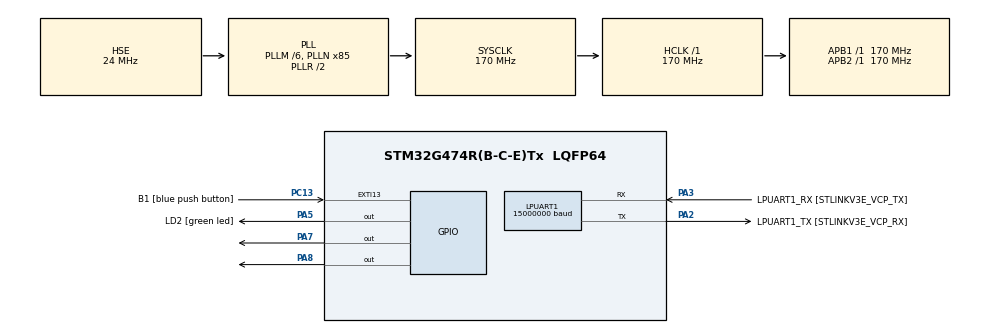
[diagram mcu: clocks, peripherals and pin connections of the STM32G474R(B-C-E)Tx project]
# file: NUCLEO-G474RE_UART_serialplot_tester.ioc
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Dma.LPUART1_TX.0.Direction=DMA_MEMORY_TO_PERIPH
Dma.LPUART1_TX.0.EventEnable=DISABLE
Dma.LPUART1_TX.0.Instance=DMA1_Channel2
Dma.LPUART1_TX.0.MemDataAlignment=DMA_MDATAALIGN_BYTE
Dma.LPUART1_TX.0.MemInc=DMA_MINC_ENABLE
Dma.LPUART1_TX.0.Mode=DMA_NORMAL
Dma.LPUART1_TX.0.PeriphDataAlignment=DMA_PDATAALIGN_BYTE
Dma.LPUART1_TX.0.PeriphInc=DMA_PINC_DISABLE
Dma.LPUART1_TX.0.Polarity=HAL_DMAMUX_REQ_GEN_RISING
Dma.LPUART1_TX.0.Priority=DMA_PRIORITY_HIGH
Dma.LPUART1_TX.0.RequestNumber=1
Dma.LPUART1_TX.0.SignalID=NONE
Dma.LPUART1_TX.0.SyncEnable=DISABLE
Dma.LPUART1_TX.0.SyncPolarity=HAL_DMAMUX_SYNC_NO_EVENT
Dma.LPUART1_TX.0.SyncRequestNumber=1
Dma.LPUART1_TX.0.SyncSignalID=NONE
Dma.Request0=LPUART1_TX
HRTIM1.ADCTrigger_Id1=__NULL
HRTIM1.CompareUnit1-MasterTimer=__NULL
HRTIM1.DACSynchro-MasterTimer=HRTIM_DACSYNC_DACTRIGOUT_2
HRTIM1.Event_EEV1=__NULL
HRTIM1.Fault_Line1=__NULL
HRTIM1.InterruptRequests1_Master=HRTIM_MASTER_IT_MREP
HRTIM1.NumberInterruptRequests_Master-MasterTimer=1
HRTIM1.Periode_MASTER=54400
HRTIM1.PrescalerRatio_MASTER=HRTIM_PRESCALERRATIO_MUL16
HRTIM1.RepetitionCounter-MasterTimer=149
HRTIM1.RepetitionUpdate-MasterTimer=HRTIM_UPDATEONREPETITION_DISABLED
LPUART1.BaudRate=15000000
LPUART1.WordLength=UART_WORDLENGTH_8B
Mcu.Family=STM32G4
Mcu.Name=STM32G474R(B-C-E)Tx
Mcu.Package=LQFP64
NVIC.DMA1_Channel2_IRQn=true\:0\:0\:false\:false\:true\:false\:true\:true
NVIC.EXTI15_10_IRQn=true\:0\:0\:false\:false\:true\:true\:true\:true
NVIC.HRTIM1_Master_IRQn=true\:1\:0\:true\:false\:true\:true\:true\:true
NVIC.LPUART1_IRQn=true\:0\:0\:false\:false\:true\:true\:true\:true
NVIC.PriorityGroup=NVIC_PRIORITYGROUP_4
PA13.GPIO_Label=T_SWDIO
PA13.Mode=Serial_Wire
PA13.Signal=SYS_JTMS-SWDIO
PA14.GPIO_Label=T_SWCLK
PA14.Mode=Serial_Wire
PA14.Signal=SYS_JTCK-SWCLK
PA2.GPIO_Label=LPUART1_TX [STLINKV3E_VCP_RX]
PA2.GPIO_Speed=GPIO_SPEED_FREQ_LOW
PA2.Mode=Asynchronous
PA2.Signal=LPUART1_TX
PA3.GPIO_Label=LPUART1_RX [STLINKV3E_VCP_TX]
PA3.Mode=Asynchronous
PA3.Signal=LPUART1_RX
PA5.GPIO_Label=LD2 [green led]
PA5.Signal=GPIO_Output
PA7.Signal=GPIO_Output
PA8.Signal=GPIO_Output
PB3.GPIO_Label=T_SWO
PB3.Signal=SYS_JTDO-SWO
PC13.GPIO_Label=B1 [blue push button]
PC13.Signal=GPXTI13
PC14-OSC32_IN.Mode=LSE-External-Oscillator
PC14-OSC32_IN.Signal=RCC_OSC32_IN
PC15-OSC32_OUT.Mode=LSE-External-Oscillator
PC15-OSC32_OUT.Signal=RCC_OSC32_OUT
PF0-OSC_IN.Mode=HSE-External-Oscillator
PF0-OSC_IN.Signal=RCC_OSC_IN
PF1-OSC_OUT.Mode=HSE-External-Oscillator
PF1-OSC_OUT.Signal=RCC_OSC_OUT
ProjectManager.HeapSize=0x200
ProjectManager.StackSize=0x400
ProjectManager.TargetToolchain=STM32CubeIDE
RCC.ADC12Freq_Value=170000000
RCC.ADC345Freq_Value=170000000
RCC.AHBFreq_Value=170000000
RCC.APB1Freq_Value=170000000
RCC.APB1TimFreq_Value=170000000
RCC.APB2Freq_Value=170000000
RCC.APB2TimFreq_Value=170000000
RCC.CortexFreq_Value=170000000
RCC.EXTERNAL_CLOCK_VALUE=12288000
RCC.HCLKFreq_Value=170000000
RCC.HSE_VALUE=24000000
RCC.HSI48_VALUE=48000000
RCC.HSI_VALUE=16000000
RCC.PLLM=RCC_PLLM_DIV6
RCC.PLLN=85
RCC.PLLSourceVirtual=RCC_PLLSOURCE_HSE
RCC.RTCClockSelection=RCC_RTCCLKSOURCE_LSE
RCC.SYSCLKFreq_VALUE=170000000
RCC.SYSCLKSource=RCC_SYSCLKSOURCE_PLLCLK
RCC.USBFreq_Value=170000000
RCC.VCOOutputFreq_Value=340000000
VP_HRTIM1_VS_hrtimMasterTimerNoOutput.Mode=MasterTimer
VP_SYS_VS_DBSignals.Mode=DisableDeadBatterySignals
board=NUCLEO-G474RE

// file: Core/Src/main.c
/* USER CODE BEGIN Header */
/**
  ******************************************************************************
  * @file           : main.c
  * @brief          : Main program body
  ******************************************************************************
  * @attention
  *
  * Copyright (c) 2023 STMicroelectronics.
  * All rights reserved.
  *
  * This software is licensed under terms that can be found in the LICENSE file
  * in the root directory of this software component.
  * If no LICENSE file comes with this software, it is provided AS-IS.
  *
  ******************************************************************************
  */
/* USER CODE END Header */
#include "main.h"

/* USER CODE BEGIN Includes */
//#include <stdio.h> // add in main.c
/* USER CODE END Includes */

HRTIM_HandleTypeDef hhrtim1;

UART_HandleTypeDef hlpuart1;
DMA_HandleTypeDef hdma_lpuart1_tx;

/* USER CODE BEGIN PV */
/* Sine wave values for a complete symbol */
uint32_t sinewave[100] = {
		0x800000,0x880985,0x900aeb,0x97fc1c,0x9fd511,0xa78dde,0xaf1eb4,0xb67fef,
		0xbdaa1a,0xc495f8,0xcb3c8b,0xd1971b,0xd79f3c,0xdd4ed7,0xe2a02d,0xe78dde,
		0xec12ef,0xf02ad0,0xf3d15e,0xf702ea,0xf9bc37,0xfbfa87,0xfdbb96,0xfefd9c,
		0xffbf56,0xffffff,0xffbf56,0xfefd9c,0xfdbb96,0xfbfa87,0xf9bc37,0xf702ea,
		0xf3d15e,0xf02ad0,0xec12ef,0xe78dde,0xe2a02d,0xdd4ed7,0xd79f3c,0xd1971b,
		0xcb3c8b,0xc495f8,0xbdaa1a,0xb67fef,0xaf1eb4,0xa78dde,0x9fd511,0x97fc1c,
		0x900aeb,0x880985,0x800000,0x77f67a,0x6ff514,0x6803e3,0x602aee,0x587221,
		0x50e14b,0x498010,0x4255e5,0x3b6a07,0x34c374,0x2e68e4,0x2860c3,0x22b128,
		0x1d5fd2,0x187221,0x13ed10,0xfd52f,0xc2ea1,0x8fd15,0x643c8,0x40578,
		0x24469,0x10263,0x40a9,0x0,0x40a9,0x10263,0x24469,0x40578,
		0x643c8,0x8fd15,0xc2ea1,0xfd52f,0x13ed10,0x187221,0x1d5fd2,0x22b128,
		0x2860c3,0x2e68e4,0x34c374,0x3b6a07,0x4255e5,0x498010,0x50e14b,0x587221,
		0x602aee,0x6803e3,0x6ff514,0x77f67a,0x800000};
uint16_t sinewave2[100] = {0x8000,0x8809,0x900a,0x97fc,0x9fd4,0xa78d,0xaf1e,0xb67f,
		0xbda9,0xc495,0xcb3c,0xd196,0xd79e,0xdd4e,0xe29f,0xe78d,
		0xec12,0xf02a,0xf3d0,0xf702,0xf9bb,0xfbfa,0xfdbb,0xfefd,
		0xffbe,0xffff,0xffbe,0xfefd,0xfdbb,0xfbfa,0xf9bb,0xf702,
		0xf3d0,0xf02a,0xec12,0xe78d,0xe29f,0xdd4e,0xd79e,0xd196,
		0xcb3c,0xc495,0xbda9,0xb67f,0xaf1e,0xa78d,0x9fd4,0x97fc,
		0x900a,0x8809,0x8000,0x77f6,0x6ff5,0x6803,0x602b,0x5872,
		0x50e1,0x4980,0x4256,0x3b6a,0x34c3,0x2e69,0x2861,0x22b1,
		0x1d60,0x1872,0x13ed,0xfd5,0xc2f,0x8fd,0x644,0x405,
		0x244,0x102,0x41,0x0,0x41,0x102,0x244,0x405,
		0x644,0x8fd,0xc2f,0xfd5,0x13ed,0x1872,0x1d60,0x22b1,
		0x2861,0x2e69,0x34c3,0x3b6a,0x4256,0x4980,0x50e1,0x5872,
		0x602b,0x6803,0x6ff5,0x77f6,0x8000};

uint8_t send_data[10];

uint32_t sinewave_send[4];
uint8_t i = 0;
uint8_t counter = 0;
uint8_t counter_ = 0;
uint8_t HAL_UART_TxCpltCallback_done = 0;
uint8_t cs = 0;
uint8_t channel1 = 0;
uint16_t channel2 = 0;
uint32_t channel3 = 0;

int8_t channel1_ = 0;
int16_t channel2_ = 0;
int32_t channel3_ = 0;

uint16_t channel1__ = 0;
uint8_t channel2__ = 0;
uint16_t channel3__ = 0;

/* USER CODE END PV */

void SystemClock_Config(void);
static void MX_GPIO_Init(void);
static void MX_DMA_Init(void);
static void MX_LPUART1_UART_Init(void);
static void MX_HRTIM1_Init(void);
/* USER CODE BEGIN PFP */
//#define PUTCHAR_PROTOTYPE int __io_putchar(int ch)
void send_sine(void);
/* USER CODE END PFP */

int main(void)
{

  /* MCU Configuration--------------------------------------------------------*/

  /* Reset of all peripherals, Initializes the Flash interface and the Systick. */
  HAL_Init();

  /* Configure the system clock */
  SystemClock_Config();

  /* Initialize all configured peripherals */
  MX_GPIO_Init();
  MX_DMA_Init();
  MX_LPUART1_UART_Init();
  MX_HRTIM1_Init();
  /* USER CODE BEGIN 2 */
//
  HAL_HRTIM_WaveformCountStart_IT(&hhrtim1, HRTIM_TIMERID_MASTER);

  /* USER CODE END 2 */

  /* Infinite loop */
  while (1)
  {

  }
}

void SystemClock_Config(void)
{
  RCC_OscInitTypeDef RCC_OscInitStruct = {0};
  RCC_ClkInitTypeDef RCC_ClkInitStruct = {0};

  /** Configure the main internal regulator output voltage
  */
  HAL_PWREx_ControlVoltageScaling(PWR_REGULATOR_VOLTAGE_SCALE1_BOOST);

  /** Initializes the RCC Oscillators according to the specified parameters
  * in the RCC_OscInitTypeDef structure.
  */
  RCC_OscInitStruct.OscillatorType = RCC_OSCILLATORTYPE_HSE;
  RCC_OscInitStruct.HSEState = RCC_HSE_ON;
  RCC_OscInitStruct.PLL.PLLState = RCC_PLL_ON;
  RCC_OscInitStruct.PLL.PLLSource = RCC_PLLSOURCE_HSE;
  RCC_OscInitStruct.PLL.PLLM = RCC_PLLM_DIV6;
  RCC_OscInitStruct.PLL.PLLN = 85;
  RCC_OscInitStruct.PLL.PLLP = RCC_PLLP_DIV2;
  RCC_OscInitStruct.PLL.PLLQ = RCC_PLLQ_DIV2;
  RCC_OscInitStruct.PLL.PLLR = RCC_PLLR_DIV2;
  if (HAL_RCC_OscConfig(&RCC_OscInitStruct) != HAL_OK)
  {
    Error_Handler();
  }

  /** Initializes the CPU, AHB and APB buses clocks
  */
  RCC_ClkInitStruct.ClockType = RCC_CLOCKTYPE_HCLK|RCC_CLOCKTYPE_SYSCLK
                              |RCC_CLOCKTYPE_PCLK1|RCC_CLOCKTYPE_PCLK2;
  RCC_ClkInitStruct.SYSCLKSource = RCC_SYSCLKSOURCE_PLLCLK;
  RCC_ClkInitStruct.AHBCLKDivider = RCC_SYSCLK_DIV1;
  RCC_ClkInitStruct.APB1CLKDivider = RCC_HCLK_DIV1;
  RCC_ClkInitStruct.APB2CLKDivider = RCC_HCLK_DIV1;

  if (HAL_RCC_ClockConfig(&RCC_ClkInitStruct, FLASH_LATENCY_4) != HAL_OK)
  {
    Error_Handler();
  }
}

static void MX_HRTIM1_Init(void)
{

  HRTIM_TimeBaseCfgTypeDef pTimeBaseCfg = {0};
  HRTIM_TimerCfgTypeDef pTimerCfg = {0};

  hhrtim1.Instance = HRTIM1;
  hhrtim1.Init.HRTIMInterruptResquests = HRTIM_IT_NONE;
  hhrtim1.Init.SyncOptions = HRTIM_SYNCOPTION_NONE;
  if (HAL_HRTIM_Init(&hhrtim1) != HAL_OK)
  {
    Error_Handler();
  }
  if (HAL_HRTIM_DLLCalibrationStart(&hhrtim1, HRTIM_CALIBRATIONRATE_3) != HAL_OK)
  {
    Error_Handler();
  }
  if (HAL_HRTIM_PollForDLLCalibration(&hhrtim1, 10) != HAL_OK)
  {
    Error_Handler();
  }
  pTimeBaseCfg.Period = 54400;
  pTimeBaseCfg.RepetitionCounter = 149;
  pTimeBaseCfg.PrescalerRatio = HRTIM_PRESCALERRATIO_MUL16;
  pTimeBaseCfg.Mode = HRTIM_MODE_CONTINUOUS;
  if (HAL_HRTIM_TimeBaseConfig(&hhrtim1, HRTIM_TIMERINDEX_MASTER, &pTimeBaseCfg) != HAL_OK)
  {
    Error_Handler();
  }
  pTimerCfg.InterruptRequests = HRTIM_MASTER_IT_MREP;
  pTimerCfg.DMARequests = HRTIM_MASTER_DMA_NONE;
  pTimerCfg.DMASrcAddress = 0x0000;
  pTimerCfg.DMADstAddress = 0x0000;
  pTimerCfg.DMASize = 0x1;
  pTimerCfg.HalfModeEnable = HRTIM_HALFMODE_DISABLED;
  pTimerCfg.InterleavedMode = HRTIM_INTERLEAVED_MODE_DISABLED;
  pTimerCfg.StartOnSync = HRTIM_SYNCSTART_DISABLED;
  pTimerCfg.ResetOnSync = HRTIM_SYNCRESET_DISABLED;
  pTimerCfg.DACSynchro = HRTIM_DACSYNC_DACTRIGOUT_2;
  pTimerCfg.PreloadEnable = HRTIM_PRELOAD_DISABLED;
  pTimerCfg.UpdateGating = HRTIM_UPDATEGATING_INDEPENDENT;
  pTimerCfg.BurstMode = HRTIM_TIMERBURSTMODE_MAINTAINCLOCK;
  pTimerCfg.RepetitionUpdate = HRTIM_UPDATEONREPETITION_DISABLED;
  pTimerCfg.ReSyncUpdate = HRTIM_TIMERESYNC_UPDATE_UNCONDITIONAL;

  if (HAL_HRTIM_WaveformTimerConfig(&hhrtim1, HRTIM_TIMERINDEX_MASTER, &pTimerCfg) != HAL_OK)
  {
    Error_Handler();
  }

}

static void MX_LPUART1_UART_Init(void)
{

  hlpuart1.Instance = LPUART1;
  hlpuart1.Init.BaudRate = 15000000;
  hlpuart1.Init.WordLength = UART_WORDLENGTH_8B;
  hlpuart1.Init.StopBits = UART_STOPBITS_1;
  hlpuart1.Init.Parity = UART_PARITY_NONE;
  hlpuart1.Init.Mode = UART_MODE_TX_RX;
  hlpuart1.Init.HwFlowCtl = UART_HWCONTROL_NONE;
  hlpuart1.Init.OneBitSampling = UART_ONE_BIT_SAMPLE_DISABLE;
  hlpuart1.Init.ClockPrescaler = UART_PRESCALER_DIV1;
  hlpuart1.AdvancedInit.AdvFeatureInit = UART_ADVFEATURE_NO_INIT;
  if (HAL_UART_Init(&hlpuart1) != HAL_OK)
  {
    Error_Handler();
  }
  if (HAL_UARTEx_SetTxFifoThreshold(&hlpuart1, UART_TXFIFO_THRESHOLD_1_8) != HAL_OK)
  {
    Error_Handler();
  }
  if (HAL_UARTEx_SetRxFifoThreshold(&hlpuart1, UART_RXFIFO_THRESHOLD_1_8) != HAL_OK)
  {
    Error_Handler();
  }
  if (HAL_UARTEx_DisableFifoMode(&hlpuart1) != HAL_OK)
  {
    Error_Handler();
  }

}

static void MX_DMA_Init(void)
{

  /* DMA controller clock enable */
  __HAL_RCC_DMAMUX1_CLK_ENABLE();
  __HAL_RCC_DMA1_CLK_ENABLE();

  /* DMA interrupt init */
  /* DMA1_Channel2_IRQn interrupt configuration */
  HAL_NVIC_SetPriority(DMA1_Channel2_IRQn, 0, 0);
  HAL_NVIC_EnableIRQ(DMA1_Channel2_IRQn);

}

static void MX_GPIO_Init(void)
{
  GPIO_InitTypeDef GPIO_InitStruct = {0};

  /* GPIO Ports Clock Enable */
  __HAL_RCC_GPIOC_CLK_ENABLE();
  __HAL_RCC_GPIOF_CLK_ENABLE();
  __HAL_RCC_GPIOA_CLK_ENABLE();
  __HAL_RCC_GPIOB_CLK_ENABLE();

  /*Configure GPIO pin Output Level */
  HAL_GPIO_WritePin(GPIOA, LD2_Pin|GPIO_PIN_7|GPIO_PIN_8, GPIO_PIN_RESET);

  /*Configure GPIO pin : B1_Pin */
  GPIO_InitStruct.Pin = B1_Pin;
  GPIO_InitStruct.Mode = GPIO_MODE_IT_RISING;
  GPIO_InitStruct.Pull = GPIO_NOPULL;
  HAL_GPIO_Init(B1_GPIO_Port, &GPIO_InitStruct);

  /*Configure GPIO pins : LD2_Pin PA7 PA8 */
  GPIO_InitStruct.Pin = LD2_Pin|GPIO_PIN_7|GPIO_PIN_8;
  GPIO_InitStruct.Mode = GPIO_MODE_OUTPUT_PP;
  GPIO_InitStruct.Pull = GPIO_NOPULL;
  GPIO_InitStruct.Speed = GPIO_SPEED_FREQ_LOW;
  HAL_GPIO_Init(GPIOA, &GPIO_InitStruct);

  /* EXTI interrupt init*/
  HAL_NVIC_SetPriority(EXTI15_10_IRQn, 0, 0);
  HAL_NVIC_EnableIRQ(EXTI15_10_IRQn);

}

/* USER CODE BEGIN 4 */
__INLINE void send_sine(void)
{
	HAL_UART_TxCpltCallback_done = 0;

//---------------test conditions --------------
//baudrate = 15Mbps
//interval = ~3ms

//	-------------------test1---------------

//	send_data[0] = 0xA0 + counter;
//
//	send_data[1] = channel1;
//	send_data[2] = (channel2 >> 8) & 0xFF;
//	send_data[3] = channel2 & 0xFF;
//	send_data[4] = channel3 >> 24;
//	send_data[5] = (channel3 >> 16) & 0xFF;
//	send_data[6] = (channel3 >> 8) & 0xFF;
//	send_data[7] = channel3 & 0xFF;
//
//	counter++;
//	channel1++;
//	channel2++;
//	channel3++;
//
//	HAL_UART_Transmit_DMA(&hlpuart1, (uint8_t*)send_data, 8)
//
//	if(counter == 0x10){
//	  counter = 0;
//	}

//	---------------------------------------

//	-------------------test2---------------

//	send_data[0] = 0xA0 + counter;
//
//	send_data[1] = channel1_;
//	send_data[2] = (channel2_ >> 8) & 0xFF;
//	send_data[3] = channel2_ & 0xFF;
//	send_data[4] = channel3_ >> 24;
//	send_data[5] = (channel3_ >> 16) & 0xFF;
//	send_data[6] = (channel3_ >> 8) & 0xFF;
//	send_data[7] = channel3_ & 0xFF;
//
//	counter++;
//	channel1_--;
//	channel2_--;
//	channel3_--;
//
//	HAL_UART_Transmit_DMA(&hlpuart1, (uint8_t*)send_data, 8)
//
//	if(counter == 0x10){
//	  counter = 0;
//	}
//	if (channel1_ == -128){
//	//		  channel1_ = 127;
//	  channel1_ = 0;
//	}
//	if(channel2_ == -32768){
//	  channel2_ = 32767;
//	  channel2_ = 0;
//	}
//	if(channel3_ == -2147483648 ){
//	//		  channel3_ = 2147483647;
//	  channel3_ = 0;
//	}

//	---------------------------------------

//	-------------------test3---------------

//	frame start = 101010 = 0x2A

//	send_data[0] = 0xA8 + counter_;
//
//	send_data[1] = channel1__ >> 2;
//	send_data[2] = ((channel1__ & 0x3) << 6) + channel2__;
//	send_data[3] = (channel3__ >> 8) & 0xFF;
//	send_data[4] = channel3__ & 0xFF;
//
//	counter_++;
//	channel1__+=2;
//	channel2__++;
//	channel3__+=5;
//
//	HAL_UART_Transmit_DMA(&hlpuart1, (uint8_t*)send_data, 5)
//
//	if(counter_ == 4){
//		counter_ = 0;
//	}
//	if (channel1__ == 0x400){
//	  channel1_ = 0;
//	}
//	if(channel2__ == 0x40){
//	  channel2_ = 0;
//	}
//	if(channel3__ == 0x10000){
//	  channel3_ = 0;
//	}

//	---------------------------------------

//	-------------------checksum test------------------

//	send_data[1] = sinewave[i] & 0xFF;
//	send_data[2] = (sinewave[i] >> 8) & 0xFF;
//	send_data[3] = (sinewave[i] >> 16) & 0xFF;
//	send_data[4] = sinewave[i] >> 24;
//	send_data[5] = sinewave[i] & 0xFF;
//	send_data[6] = (sinewave[i] >> 8) & 0xFF;
//	send_data[7] = (sinewave[i] >> 16) & 0xFF;
//	send_data[8] = sinewave[i] >> 24;
//
//	cs = 0;
//	for (int a=1; a< 9; a++){
//		cs += send_data[a];
//	}
//	cs %= 0xFF;
//
//	send_data[9] = cs;
//
//	i++;
//	HAL_UART_Transmit_DMA(&hlpuart1, (uint8_t*)send_data, 9)
//
//	if (i == 100){
//	  i = 0;
//	}

//	-------------------------------------------------

//	-------------------simple binary test------------------

//	sinewave_send[0] = sinewave[i];
//	HAL_UART_Transmit_DMA(&hlpuart1, (uint8_t*)sinewave_send, 4)
//
//	i++;
//
//	if (i == 100){
//	  i = 0;
//	}

//	-------------------------------------------------------

//	-------------------pointer test------------------

	int32_t* sinewave_ptr = &sinewave[i];

//	channel3 = 0xFFFFFFFF;
//	counter = 0xA;

	send_data[0] = 0xA0 + counter;
	send_data[1] = channel3 & 0xFF; // lower 8 bits of counter
	send_data[2] = (channel3 >> 8) & 0xFF; // next 8 bits of counter
	send_data[3] = (channel3 >> 16) & 0xFF; // next 8 bits of counter
	send_data[4] = (channel3 >> 24) & 0xFF; // upper 8 bits of counter

	uint8_t* sinewave_bytes = (uint8_t*)sinewave_ptr;
	send_data[5] = sinewave_bytes[0];
	send_data[6] = sinewave_bytes[1];
	send_data[7] = sinewave_bytes[2];
	send_data[8] = sinewave_bytes[3];

	i++;
	counter++;
	channel3+=100000;

	HAL_UART_Transmit_DMA(&hlpuart1, (uint8_t*)send_data, 9);

	if (i == 100){
	  i = 0;
	}
	if(counter == 0x10){
	  counter = 0;
	}

//	-------------------------------------------------

	while (!HAL_UART_TxCpltCallback_done)
	{
	}

}

void HAL_UART_TxCpltCallback(UART_HandleTypeDef *huart)
{
  /* Prevent unused argument(s) compilation warning */
  UNUSED(huart);

  /* NOTE : This function should not be modified, when the callback is needed,
            the HAL_UART_TxCpltCallback can be implemented in the user file.
   */
  HAL_UART_TxCpltCallback_done = 1;
}

void HAL_HRTIM_RepetitionEventCallback(HRTIM_HandleTypeDef * hhrtim,
                                              uint32_t TimerIdx)
{
  /* Prevent unused argument(s) compilation warning */
  UNUSED(hhrtim);
  UNUSED(TimerIdx);

  /* NOTE : This function should not be modified, when the callback is needed,
            the HAL_HRTIM_Master_RepetitionEventCallback could be implemented in the user file
   */
  send_sine();
}

//PUTCHAR_PROTOTYPE {
//	/* Place your implementation of fputc here */
//	/* e.g. write a character to the LPUART1 and Loop until the end of transmission */
//	HAL_UART_Transmit(&hlpuart1, (uint8_t*) &ch, 1, 0xFFFF);
////	HAL_UART_Transmit_DMA(&hlpuart1, (uint8_t*) &ch, 1);
//
//	return ch;
//}
/* USER CODE END 4 */

void Error_Handler(void)
{
  /* USER CODE BEGIN Error_Handler_Debug */
  /* User can add his own implementation to report the HAL error return state */
  printf(" Error \n");
  HAL_GPIO_WritePin(GPIOA, GPIO_PIN_5, SET);
  __disable_irq();
  while (1)
  {

  }
  /* USER CODE END Error_Handler_Debug */
}
